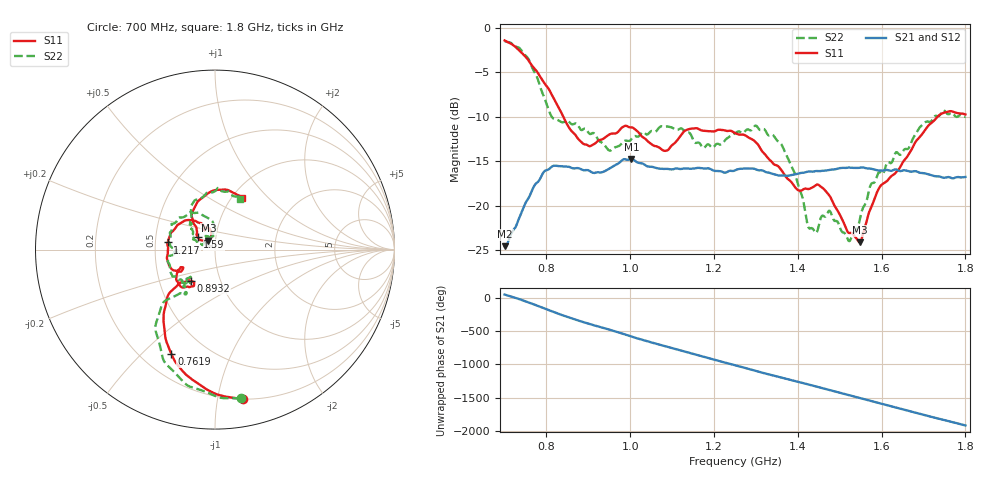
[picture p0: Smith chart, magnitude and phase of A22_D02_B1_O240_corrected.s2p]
! Created with skrf 1.9.0 (http://scikit-rf.org).
# Hz S RI R 50.0
!freq ReS11 ImS11 ReS21 ImS21 ReS12 ImS12 ReS22 ImS22
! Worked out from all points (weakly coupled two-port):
!   1601 points, 700 MHz to 1.8 GHz, reference 50 ohm
!   highest |S21| = -14.75 dB at 1.002 GHz (marker M1); lowest = -24.6 dB at 701.4 MHz (marker M2)
!   lowest |S11| = -24.1 dB at 1.548 GHz (marker M3), VSWR 1.13, Z = 46.3 + j4.69 ohm
!   |S11| at or under -10 dB: 839.9 MHz to 1.734 GHz (893.6 MHz wide, 69.5 % of centre)
!   |S22| runs from -24.0 to -1.5 dB; largest |S21 - S12| = 0.0034
!   S11 on the Smith chart (normalised r, x): 700 MHz: 0.20, -1.19; 761.9 MHz: 0.32, -0.62; 893.2 MHz: 0.72, -0.27; 1.217 GHz: 0.58, +0.05; 1.59 GHz: 0.82, +0.12; 1.8 GHz: 1.12, +0.72
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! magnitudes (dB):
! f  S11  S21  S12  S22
! 700 MHz  -1.4  -24.5  -24.3  -1.5
! 701.4 MHz  -1.5  -24.6  -24.2  -1.5
! 761.9 MHz  -4.0  -18.7  -18.6  -4.0
! 814.1 MHz  -7.7  -15.6  -15.6  -10.1
! 883.6 MHz  -12.9  -15.9  -15.8  -11.5
! 893.2 MHz  -13.1  -16.0  -16.1  -11.3
! 950.2 MHz  -12.0  -15.8  -15.8  -13.8
! 1.002 GHz  -11.2  -14.8  -14.9  -12.5
! 1.067 GHz  -13.4  -15.8  -15.8  -11.3
! 1.217 GHz  -11.5  -16.1  -16.2  -13.1
! 1.25 GHz  -11.8  -16.0  -16.0  -11.9
! 1.3 GHz  -12.9  -15.9  -15.9  -11.0
! 1.359 GHz  -15.9  -16.6  -16.6  -13.0
! 1.401 GHz  -18.3  -16.4  -16.4  -17.6
! 1.434 GHz  -18.0  -16.2  -16.1  -22.5
! 1.476 GHz  -18.9  -16.0  -16.0  -20.6
! 1.523 GHz  -23.1  -15.7  -15.7  -24.0
! 1.548 GHz  -24.1  -15.7  -15.7  -21.6
! 1.59 GHz  -18.4  -16.0  -16.0  -16.6
! 1.617 GHz  -17.0  -16.0  -16.0  -15.1
! 1.737 GHz  -9.9  -16.7  -16.8  -9.9
! 1.8 GHz  -9.8  -16.8  -16.8  -10.0
